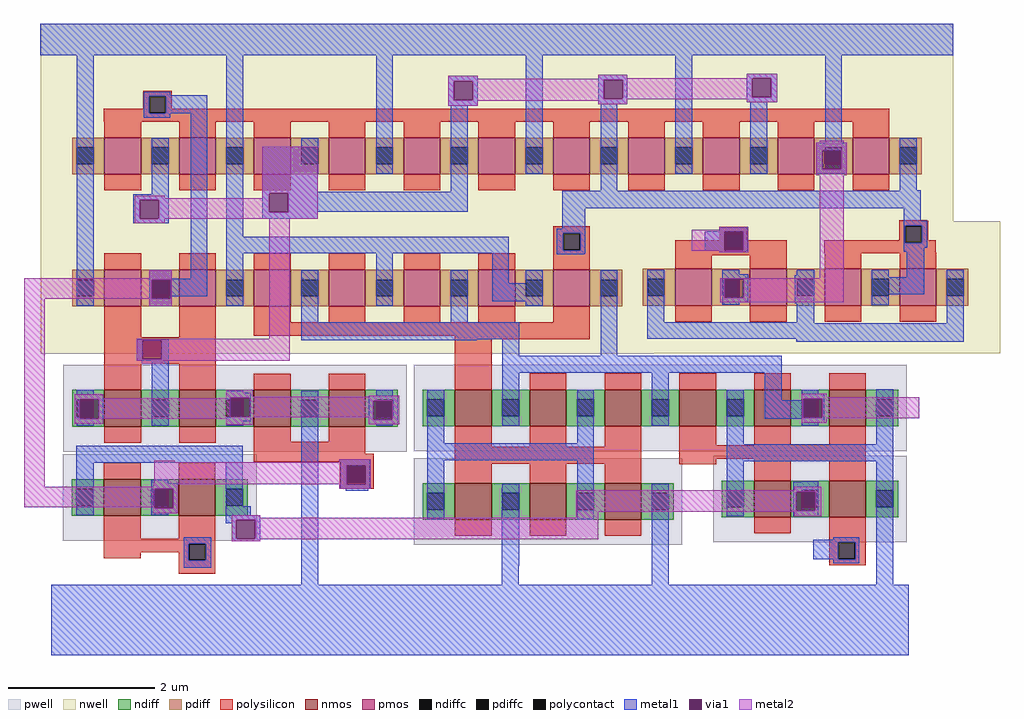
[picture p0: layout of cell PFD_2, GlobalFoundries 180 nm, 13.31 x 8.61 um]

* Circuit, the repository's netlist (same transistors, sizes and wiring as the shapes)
* NGSPICE file created from PFD_2.ext - technology: gf180mcuD

.subckt nmos_3p3_3JEA4B a_254_n50# a_n154_n50# a_n342_n50# a_n254_n94# a_50_n50# a_n50_n94#
+ a_154_n94# VSUBS
X0 a_50_n50# a_n50_n94# a_n154_n50# VSUBS nfet_03v3 ad=0.13p pd=1.02u as=0.13p ps=1.02u w=0.5u l=0.5u
X1 a_n154_n50# a_n254_n94# a_n342_n50# VSUBS nfet_03v3 ad=0.13p pd=1.02u as=0.22p ps=1.88u w=0.5u l=0.5u
X2 a_254_n50# a_154_n94# a_50_n50# VSUBS nfet_03v3 ad=0.22p pd=1.88u as=0.13p ps=1.02u w=0.5u l=0.5u
.ends

.subckt nmos_3p3_8FEA4B a_n52_n50# a_52_n94# a_152_n50# a_n240_n50# a_n152_n94# VSUBS
X0 a_152_n50# a_52_n94# a_n52_n50# VSUBS nfet_03v3 ad=0.22p pd=1.88u as=0.13p ps=1.02u w=0.5u l=0.5u
X1 a_n52_n50# a_n152_n94# a_n240_n50# VSUBS nfet_03v3 ad=0.13p pd=1.02u as=0.22p ps=1.88u w=0.5u l=0.5u
.ends

.subckt pmos_3p3_KG2TLV a_n52_n50# w_n326_n180# a_52_n94# a_152_n50# a_n240_n50# a_n152_n94#
X0 a_152_n50# a_52_n94# a_n52_n50# w_n326_n180# pfet_03v3 ad=0.22p pd=1.88u as=0.13p ps=1.02u w=0.5u l=0.5u
X1 a_n52_n50# a_n152_n94# a_n240_n50# w_n326_n180# pfet_03v3 ad=0.13p pd=1.02u as=0.22p ps=1.88u w=0.5u l=0.5u
.ends

.subckt pmos_3p3_K83TLV a_458_n50# a_n358_n50# a_n546_n50# a_254_n50# a_n154_n50#
+ a_n458_n94# a_n254_n94# a_50_n50# w_n632_n180# a_358_n94# a_n50_n94# a_154_n94#
X0 a_50_n50# a_n50_n94# a_n154_n50# w_n632_n180# pfet_03v3 ad=0.13p pd=1.02u as=0.13p ps=1.02u w=0.5u l=0.5u
X1 a_n154_n50# a_n254_n94# a_n358_n50# w_n632_n180# pfet_03v3 ad=0.13p pd=1.02u as=0.13p ps=1.02u w=0.5u l=0.5u
X2 a_n358_n50# a_n458_n94# a_n546_n50# w_n632_n180# pfet_03v3 ad=0.13p pd=1.02u as=0.22p ps=1.88u w=0.5u l=0.5u
X3 a_254_n50# a_154_n94# a_50_n50# w_n632_n180# pfet_03v3 ad=0.13p pd=1.02u as=0.13p ps=1.02u w=0.5u l=0.5u
X4 a_458_n50# a_358_n94# a_254_n50# w_n632_n180# pfet_03v3 ad=0.22p pd=1.88u as=0.13p ps=1.02u w=0.5u l=0.5u
.ends

.subckt pmos_3p3_HMK9E7 a_n866_n94# a_662_n50# a_n562_n50# a_n662_n94# a_458_n50#
+ a_n358_n50# a_970_n94# a_254_n50# a_n154_n50# a_n458_n94# w_n1244_n180# a_766_n94#
+ a_n254_n94# a_562_n94# a_50_n50# a_358_n94# a_n50_n94# a_1070_n50# a_n970_n50# a_n1158_n50#
+ a_154_n94# a_n1070_n94# a_866_n50# a_n766_n50#
X0 a_866_n50# a_766_n94# a_662_n50# w_n1244_n180# pfet_03v3 ad=0.13p pd=1.02u as=0.13p ps=1.02u w=0.5u l=0.5u
X1 a_50_n50# a_n50_n94# a_n154_n50# w_n1244_n180# pfet_03v3 ad=0.13p pd=1.02u as=0.13p ps=1.02u w=0.5u l=0.5u
X2 a_1070_n50# a_970_n94# a_866_n50# w_n1244_n180# pfet_03v3 ad=0.22p pd=1.88u as=0.13p ps=1.02u w=0.5u l=0.5u
X3 a_n154_n50# a_n254_n94# a_n358_n50# w_n1244_n180# pfet_03v3 ad=0.13p pd=1.02u as=0.13p ps=1.02u w=0.5u l=0.5u
X4 a_n358_n50# a_n458_n94# a_n562_n50# w_n1244_n180# pfet_03v3 ad=0.13p pd=1.02u as=0.13p ps=1.02u w=0.5u l=0.5u
X5 a_n562_n50# a_n662_n94# a_n766_n50# w_n1244_n180# pfet_03v3 ad=0.13p pd=1.02u as=0.13p ps=1.02u w=0.5u l=0.5u
X6 a_n766_n50# a_n866_n94# a_n970_n50# w_n1244_n180# pfet_03v3 ad=0.13p pd=1.02u as=0.13p ps=1.02u w=0.5u l=0.5u
X7 a_n970_n50# a_n1070_n94# a_n1158_n50# w_n1244_n180# pfet_03v3 ad=0.13p pd=1.02u as=0.22p ps=1.88u w=0.5u l=0.5u
X8 a_254_n50# a_154_n94# a_50_n50# w_n1244_n180# pfet_03v3 ad=0.13p pd=1.02u as=0.13p ps=1.02u w=0.5u l=0.5u
X9 a_458_n50# a_358_n94# a_254_n50# w_n1244_n180# pfet_03v3 ad=0.13p pd=1.02u as=0.13p ps=1.02u w=0.5u l=0.5u
X10 a_662_n50# a_562_n94# a_458_n50# w_n1244_n180# pfet_03v3 ad=0.13p pd=1.02u as=0.13p ps=1.02u w=0.5u l=0.5u
.ends

.subckt PFD_2
Xnmos_3p3_3JEA4B_0 m1_29_n1176# m1_29_n1176# m1_711_n317# a_2150_n931# m1_711_n317#
+ a_2150_n931# a_2150_n931# VSUBS nmos_3p3_3JEA4B
Xnmos_3p3_8FEA4B_0 m1_29_n1176# a_172_278# m1_94_n545# m1_94_n545# a_172_278# VSUBS
+ nmos_3p3_8FEA4B
Xnmos_3p3_3JEA4B_1 m1_711_n317# m1_711_n317# m1_1055_n805# a_582_n305# m1_1055_n805#
+ a_582_n305# a_582_n305# VSUBS nmos_3p3_3JEA4B
Xpmos_3p3_KG2TLV_0 a_582_n305# w_253_2# a_582_n305# m1_1654_n314# m1_1654_n314# a_582_n305#
+ pmos_3p3_KG2TLV
Xnmos_3p3_8FEA4B_1 a_582_n305# a_174_n409# m1_94_n545# m1_94_n545# a_174_n409# VSUBS
+ nmos_3p3_8FEA4B
Xnmos_3p3_3JEA4B_2 m1_29_n1176# m1_29_n1176# m1_1055_n805# a_582_n305# m1_1055_n805#
+ a_582_n305# a_582_n305# VSUBS nmos_3p3_3JEA4B
Xpmos_3p3_KG2TLV_1 a_172_278# w_253_2# a_174_n409# m1_n1_460# m1_n1_460# a_174_n409#
+ pmos_3p3_KG2TLV
Xnmos_3p3_8FEA4B_2 a_172_278# a_173_n912# m1_98_n794# m1_98_n794# a_173_n912# VSUBS
+ nmos_3p3_8FEA4B
Xpmos_3p3_KG2TLV_2 m1_n1_460# w_253_2# a_1730_n81# m1_1654_n314# m1_1654_n314# a_1730_n81#
+ pmos_3p3_KG2TLV
Xnmos_3p3_8FEA4B_3 m1_98_n794# a_2150_n931# m1_29_n1176# m1_29_n1176# a_2150_n931#
+ VSUBS nmos_3p3_8FEA4B
Xpmos_3p3_K83TLV_0 m1_711_n317# m1_711_n317# m1_n1_460# m1_n1_460# m1_n1_460# a_582_n305#
+ a_582_n305# m1_711_n317# w_253_2# a_582_n305# a_582_n305# a_582_n305# pmos_3p3_K83TLV
Xpmos_3p3_HMK9E7_0 a_172_278# a_582_n305# a_582_n305# a_172_278# m1_n1_460# m1_n1_460#
+ a_172_278# a_582_n305# a_582_n305# a_172_278# w_253_2# a_172_278# a_172_278# a_172_278#
+ m1_n1_460# a_172_278# a_172_278# a_582_n305# a_582_n305# m1_n1_460# a_172_278# a_172_278#
+ m1_n1_460# m1_n1_460# pmos_3p3_HMK9E7
.ends

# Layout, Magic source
magic
tech gf180mcuD
magscale 1 10
<< nwell >>
rect 0 365 2488 545
rect 280 300 358 363
rect 282 289 358 300
rect 507 233 553 365
rect 1849 355 1945 365
rect 303 80 349 170
rect 619 87 665 164
rect 619 83 681 87
rect 619 82 665 83
rect 253 2 349 80
rect 615 16 687 82
rect 2341 8 2418 10
rect 1852 -76 1926 -8
rect 2341 -66 2421 8
rect 1700 -314 2062 -268
<< polysilicon >>
rect 280 348 358 363
rect 280 314 296 348
rect 172 302 296 314
rect 342 314 358 348
rect 342 302 2314 314
rect 172 278 2314 302
rect 2341 8 2418 10
rect 2341 -6 2421 8
rect 1398 -26 1498 -7
rect 1398 -72 1425 -26
rect 1471 -72 1498 -26
rect 1852 -24 1926 -8
rect 1852 -45 1866 -24
rect 1398 -81 1498 -72
rect 1730 -70 1866 -45
rect 1912 -45 1926 -24
rect 2341 -45 2357 -6
rect 1912 -70 2034 -45
rect 1730 -81 2034 -70
rect 2137 -52 2357 -45
rect 2403 -45 2421 -6
rect 2403 -52 2441 -45
rect 2137 -81 2441 -52
rect 1829 -86 1935 -81
rect 174 -310 274 -266
rect 378 -310 478 -269
rect 582 -305 1498 -269
rect 174 -381 478 -310
rect 174 -409 274 -381
rect 378 -409 478 -381
rect 1130 -315 1498 -305
rect 1130 -409 1230 -315
rect 582 -627 886 -594
rect 1130 -608 1230 -593
rect 1334 -608 1434 -593
rect 1538 -608 1638 -593
rect 582 -649 909 -627
rect 816 -659 909 -649
rect 816 -705 839 -659
rect 885 -705 909 -659
rect 1130 -654 1638 -608
rect 1130 -663 1230 -654
rect 1334 -663 1434 -654
rect 1538 -663 1638 -654
rect 1742 -604 1842 -596
rect 1946 -603 2046 -596
rect 2150 -603 2250 -596
rect 1946 -604 2250 -603
rect 1742 -641 2250 -604
rect 1742 -655 1842 -641
rect 1946 -648 2250 -641
rect 1946 -656 2046 -648
rect 2150 -656 2250 -648
rect 816 -723 909 -705
rect 173 -859 273 -840
rect 377 -859 477 -840
rect 173 -872 477 -859
rect 173 -895 404 -872
rect 173 -912 273 -895
rect 377 -918 404 -895
rect 450 -918 477 -872
rect 377 -954 477 -918
rect 2150 -868 2250 -843
rect 2150 -914 2175 -868
rect 2221 -914 2250 -868
rect 2150 -931 2250 -914
<< polycontact >>
rect 296 302 342 348
rect 1425 -72 1471 -26
rect 1866 -70 1912 -24
rect 2357 -52 2403 -6
rect 839 -705 885 -659
rect 404 -918 450 -872
rect 2175 -914 2221 -868
<< metal1 >>
rect -1 460 2488 545
rect 99 -223 145 460
rect 282 350 354 360
rect 282 348 455 350
rect 282 302 296 348
rect 342 302 455 348
rect 282 301 455 302
rect 282 289 354 301
rect 303 80 349 233
rect 253 66 349 80
rect 253 14 271 66
rect 323 14 349 66
rect 253 2 349 14
rect 297 -150 358 -127
rect 409 -150 455 301
rect 297 -153 455 -150
rect 297 -205 303 -153
rect 355 -198 455 -153
rect 507 -35 553 460
rect 711 210 757 233
rect 604 138 757 210
rect 915 138 961 460
rect 1112 389 1192 404
rect 1112 337 1127 389
rect 1179 337 1192 389
rect 1112 322 1192 337
rect 604 87 756 138
rect 1119 87 1165 322
rect 1323 137 1369 460
rect 1521 393 1600 407
rect 1521 341 1535 393
rect 1587 341 1600 393
rect 1521 326 1600 341
rect 1527 90 1573 326
rect 1731 138 1777 460
rect 1926 397 2009 409
rect 1926 345 1941 397
rect 1993 345 2009 397
rect 1926 331 2009 345
rect 1935 137 1981 331
rect 2139 221 2185 460
rect 2115 201 2198 221
rect 2115 149 2131 201
rect 2183 149 2198 201
rect 2115 136 2198 149
rect 2343 91 2389 233
rect 2343 90 2400 91
rect 604 83 1165 87
rect 604 31 623 83
rect 675 33 1165 83
rect 1422 43 2400 90
rect 675 31 756 33
rect 604 14 756 31
rect 1422 -14 1485 43
rect 2354 8 2400 43
rect 2354 -6 2418 8
rect 1407 -26 1485 -14
rect 1851 -20 1928 -11
rect 1812 -21 1928 -20
rect 1812 -23 1864 -21
rect 507 -81 1277 -35
rect 355 -205 358 -198
rect 297 -225 358 -205
rect 507 -223 553 -81
rect 711 -269 757 -127
rect 915 -223 961 -81
rect 1119 -269 1165 -127
rect 1231 -162 1277 -81
rect 1407 -72 1425 -26
rect 1471 -72 1485 -26
rect 1407 -80 1485 -72
rect 1811 -73 1864 -23
rect 1916 -73 1928 -21
rect 1811 -74 1928 -73
rect 2354 -52 2357 -6
rect 2403 -52 2418 -6
rect 2354 -66 2418 -52
rect 1855 -78 1923 -74
rect 2354 -76 2410 -66
rect 1407 -83 1484 -80
rect 1323 -162 1369 -127
rect 1231 -211 1369 -162
rect 1323 -223 1369 -211
rect 711 -315 1305 -269
rect 262 -318 349 -315
rect 711 -317 1190 -315
rect 262 -370 278 -318
rect 330 -370 349 -318
rect 262 -374 349 -370
rect 99 -465 145 -452
rect 94 -479 171 -465
rect 94 -531 107 -479
rect 159 -531 171 -479
rect 94 -545 171 -531
rect 99 -548 145 -545
rect 303 -548 349 -374
rect 1259 -360 1305 -315
rect 1527 -360 1573 -127
rect 1654 -268 1701 -127
rect 1859 -138 1905 -127
rect 1859 -150 1929 -138
rect 2062 -140 2109 -127
rect 1859 -202 1865 -150
rect 1917 -202 1929 -150
rect 1859 -214 1929 -202
rect 1859 -221 1905 -214
rect 2056 -217 2110 -140
rect 2266 -146 2312 -127
rect 2362 -146 2410 -76
rect 2266 -192 2410 -146
rect 2062 -268 2109 -217
rect 2266 -222 2312 -192
rect 1654 -271 2109 -268
rect 2471 -271 2517 -127
rect 1654 -314 2517 -271
rect 2061 -322 2517 -314
rect 1259 -406 2021 -360
rect 516 -474 573 -461
rect 516 -526 518 -474
rect 570 -526 573 -474
rect 516 -538 573 -526
rect 98 -651 552 -605
rect 98 -794 145 -651
rect 302 -708 348 -699
rect 302 -723 374 -708
rect 302 -775 310 -723
rect 362 -775 374 -723
rect 302 -789 374 -775
rect 505 -770 552 -651
rect 302 -793 348 -789
rect 505 -794 573 -770
rect 505 -807 599 -794
rect 505 -816 534 -807
rect 390 -872 466 -855
rect 522 -859 534 -816
rect 586 -859 599 -807
rect 522 -865 599 -859
rect 390 -918 404 -872
rect 450 -918 466 -872
rect 390 -938 466 -918
rect 711 -984 757 -455
rect 915 -469 961 -452
rect 895 -482 978 -469
rect 895 -534 907 -482
rect 959 -534 978 -482
rect 895 -547 978 -534
rect 915 -548 961 -547
rect 1055 -598 1101 -453
rect 1259 -548 1305 -406
rect 1463 -598 1509 -453
rect 1667 -548 1713 -406
rect 819 -659 898 -642
rect 819 -711 835 -659
rect 887 -711 898 -659
rect 819 -723 898 -711
rect 1055 -645 1509 -598
rect 832 -728 893 -723
rect 1055 -805 1101 -645
rect 1259 -721 1305 -709
rect 1258 -933 1305 -721
rect 1463 -805 1509 -645
rect 1871 -601 1917 -452
rect 1975 -481 2021 -406
rect 2075 -464 2121 -452
rect 2075 -477 2137 -464
rect 2075 -481 2079 -477
rect 1975 -529 2079 -481
rect 2131 -529 2137 -477
rect 1975 -532 2137 -529
rect 2075 -542 2137 -532
rect 2075 -548 2121 -542
rect 2279 -601 2325 -451
rect 1871 -648 2325 -601
rect 1258 -984 1304 -933
rect 1667 -984 1713 -709
rect 1871 -788 1917 -648
rect 2052 -730 2121 -703
rect 2052 -782 2060 -730
rect 2112 -782 2121 -730
rect 2052 -789 2121 -782
rect 2052 -794 2117 -789
rect 2052 -797 2100 -794
rect 2162 -862 2232 -855
rect 2107 -868 2232 -862
rect 2107 -914 2175 -868
rect 2221 -914 2232 -868
rect 2107 -915 2232 -914
rect 2162 -925 2232 -915
rect 2279 -984 2325 -648
rect 29 -1176 2367 -984
<< via1 >>
rect 271 14 323 66
rect 303 -205 355 -153
rect 1127 337 1179 389
rect 1535 341 1587 393
rect 1941 345 1993 397
rect 2131 149 2183 201
rect 623 31 675 83
rect 1864 -24 1916 -21
rect 1864 -70 1866 -24
rect 1866 -70 1912 -24
rect 1912 -70 1916 -24
rect 1864 -73 1916 -70
rect 278 -370 330 -318
rect 107 -531 159 -479
rect 1865 -202 1917 -150
rect 518 -526 570 -474
rect 310 -775 362 -723
rect 534 -859 586 -807
rect 907 -534 959 -482
rect 835 -705 839 -659
rect 839 -705 885 -659
rect 885 -705 887 -659
rect 835 -711 887 -705
rect 2079 -529 2131 -477
rect 2060 -782 2112 -730
<< metal2 >>
rect 1112 395 1192 404
rect 1521 397 1600 407
rect 1926 397 2009 409
rect 1521 395 1941 397
rect 1112 393 1941 395
rect 1112 389 1535 393
rect 1112 337 1127 389
rect 1179 341 1535 389
rect 1587 345 1941 393
rect 1993 345 2009 397
rect 1587 341 2009 345
rect 1179 339 2009 341
rect 1179 337 1600 339
rect 1112 336 1600 337
rect 1112 322 1192 336
rect 1521 326 1600 336
rect 1926 331 2009 339
rect 2125 221 2190 226
rect 604 83 756 210
rect 2115 201 2198 221
rect 2115 149 2131 201
rect 2183 149 2198 201
rect 2115 132 2198 149
rect 257 70 339 77
rect 604 70 623 83
rect 257 66 623 70
rect 257 14 271 66
rect 323 31 623 66
rect 675 31 756 83
rect 323 14 756 31
rect 257 2 339 14
rect 297 -148 358 -127
rect -45 -153 358 -148
rect -45 -204 303 -153
rect -45 -717 11 -204
rect 297 -205 303 -204
rect 355 -205 358 -153
rect 297 -225 358 -205
rect 623 -314 679 14
rect 1851 -16 1929 -8
rect 1776 -21 1929 -16
rect 1776 -73 1864 -21
rect 1916 -73 1929 -21
rect 1776 -74 1929 -73
rect 1851 -78 1929 -74
rect 2125 -148 2190 132
rect 1853 -150 2190 -148
rect 1853 -202 1865 -150
rect 1917 -202 2190 -150
rect 1853 -214 2190 -202
rect 262 -318 679 -314
rect 262 -370 278 -318
rect 330 -370 679 -318
rect 262 -374 679 -370
rect 276 -381 332 -374
rect 94 -476 171 -465
rect 507 -472 578 -452
rect 895 -472 978 -469
rect 507 -474 978 -472
rect 507 -476 518 -474
rect 94 -479 518 -476
rect 94 -531 107 -479
rect 159 -526 518 -479
rect 570 -482 978 -474
rect 570 -526 907 -482
rect 159 -528 907 -526
rect 159 -531 578 -528
rect 94 -532 578 -531
rect 94 -545 171 -532
rect 507 -548 578 -532
rect 895 -534 907 -528
rect 959 -534 978 -482
rect 895 -547 978 -534
rect 2075 -473 2143 -464
rect 2075 -477 2396 -473
rect 2075 -529 2079 -477
rect 2131 -529 2396 -477
rect 2075 -530 2396 -529
rect 2075 -542 2143 -530
rect 310 -650 366 -646
rect 814 -650 901 -642
rect 310 -659 901 -650
rect 310 -708 835 -659
rect 307 -710 835 -708
rect 307 -717 374 -710
rect -45 -723 374 -717
rect 814 -711 835 -710
rect 887 -711 901 -659
rect 814 -722 901 -711
rect 814 -723 900 -722
rect -45 -773 310 -723
rect 307 -775 310 -773
rect 362 -775 374 -723
rect 2055 -726 2128 -717
rect 307 -789 374 -775
rect 1461 -730 2128 -726
rect 1461 -782 2060 -730
rect 2112 -782 2128 -730
rect 1461 -785 2128 -782
rect 522 -801 599 -794
rect 1461 -801 1520 -785
rect 2055 -797 2128 -785
rect 522 -807 1520 -801
rect 522 -859 534 -807
rect 586 -859 1520 -807
rect 522 -860 1520 -859
rect 522 -865 599 -860
use nmos_3p3_3JEA4B  nmos_3p3_3JEA4B_0
transform 1 0 1996 0 1 -502
box -366 -118 366 118
use nmos_3p3_3JEA4B  nmos_3p3_3JEA4B_1
transform 1 0 1384 0 1 -502
box -366 -118 366 118
use nmos_3p3_3JEA4B  nmos_3p3_3JEA4B_2
transform 1 0 1384 0 1 -757
box -366 -118 366 118
use nmos_3p3_8FEA4B  nmos_3p3_8FEA4B_0
transform 1 0 734 0 1 -503
box -264 -118 264 118
use nmos_3p3_8FEA4B  nmos_3p3_8FEA4B_1
transform 1 0 326 0 1 -503
box -264 -118 264 118
use nmos_3p3_8FEA4B  nmos_3p3_8FEA4B_2
transform 1 0 325 0 1 -746
box -264 -118 264 118
use nmos_3p3_8FEA4B  nmos_3p3_8FEA4B_3
transform 1 0 2098 0 1 -750
box -264 -118 264 118
use pmos_3p3_HMK9E7  pmos_3p3_HMK9E7_0
transform 1 0 1244 0 1 185
box -1244 -180 1244 180
use pmos_3p3_K83TLV  pmos_3p3_K83TLV_0
transform 1 0 1040 0 1 -175
box -632 -180 632 180
use pmos_3p3_KG2TLV  pmos_3p3_KG2TLV_0
transform 1 0 2290 0 1 -173
box -326 -180 326 180
use pmos_3p3_KG2TLV  pmos_3p3_KG2TLV_1
transform 1 0 326 0 1 -175
box -326 -180 326 180
use pmos_3p3_KG2TLV  pmos_3p3_KG2TLV_2
transform 1 0 1882 0 1 -173
box -326 -180 326 180
<< end >>

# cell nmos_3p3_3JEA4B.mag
magic
tech gf180mcuD
magscale 1 10
<< pwell >>
rect -366 -118 366 118
<< nmos >>
rect -254 -50 -154 50
rect -50 -50 50 50
rect 154 -50 254 50
<< ndiff >>
rect -342 23 -254 50
rect -342 -23 -329 23
rect -283 -23 -254 23
rect -342 -50 -254 -23
rect -154 23 -50 50
rect -154 -23 -125 23
rect -79 -23 -50 23
rect -154 -50 -50 -23
rect 50 23 154 50
rect 50 -23 79 23
rect 125 -23 154 23
rect 50 -50 154 -23
rect 254 23 342 50
rect 254 -23 283 23
rect 329 -23 342 23
rect 254 -50 342 -23
<< ndiffc >>
rect -329 -23 -283 23
rect -125 -23 -79 23
rect 79 -23 125 23
rect 283 -23 329 23
<< polysilicon >>
rect -254 50 -154 94
rect -50 50 50 94
rect 154 50 254 94
rect -254 -94 -154 -50
rect -50 -94 50 -50
rect 154 -94 254 -50
<< metal1 >>
rect -329 23 -283 48
rect -329 -48 -283 -23
rect -125 23 -79 48
rect -125 -48 -79 -23
rect 79 23 125 48
rect 79 -48 125 -23
rect 283 23 329 48
rect 283 -48 329 -23
<< end >>

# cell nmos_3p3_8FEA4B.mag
magic
tech gf180mcuD
magscale 1 10
<< pwell >>
rect -264 -118 264 118
<< nmos >>
rect -152 -50 -52 50
rect 52 -50 152 50
<< ndiff >>
rect -240 23 -152 50
rect -240 -23 -227 23
rect -181 -23 -152 23
rect -240 -50 -152 -23
rect -52 23 52 50
rect -52 -23 -23 23
rect 23 -23 52 23
rect -52 -50 52 -23
rect 152 23 240 50
rect 152 -23 181 23
rect 227 -23 240 23
rect 152 -50 240 -23
<< ndiffc >>
rect -227 -23 -181 23
rect -23 -23 23 23
rect 181 -23 227 23
<< polysilicon >>
rect -152 50 -52 94
rect 52 50 152 94
rect -152 -94 -52 -50
rect 52 -94 152 -50
<< metal1 >>
rect -227 23 -181 48
rect -227 -48 -181 -23
rect -23 23 23 48
rect -23 -48 23 -23
rect 181 23 227 48
rect 181 -48 227 -23
<< end >>

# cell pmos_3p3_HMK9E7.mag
magic
tech gf180mcuD
magscale 1 10
<< nwell >>
rect -1244 -180 1244 180
<< pmos >>
rect -1070 -50 -970 50
rect -866 -50 -766 50
rect -662 -50 -562 50
rect -458 -50 -358 50
rect -254 -50 -154 50
rect -50 -50 50 50
rect 154 -50 254 50
rect 358 -50 458 50
rect 562 -50 662 50
rect 766 -50 866 50
rect 970 -50 1070 50
<< pdiff >>
rect -1158 23 -1070 50
rect -1158 -23 -1145 23
rect -1099 -23 -1070 23
rect -1158 -50 -1070 -23
rect -970 23 -866 50
rect -970 -23 -941 23
rect -895 -23 -866 23
rect -970 -50 -866 -23
rect -766 23 -662 50
rect -766 -23 -737 23
rect -691 -23 -662 23
rect -766 -50 -662 -23
rect -562 23 -458 50
rect -562 -23 -533 23
rect -487 -23 -458 23
rect -562 -50 -458 -23
rect -358 23 -254 50
rect -358 -23 -329 23
rect -283 -23 -254 23
rect -358 -50 -254 -23
rect -154 23 -50 50
rect -154 -23 -125 23
rect -79 -23 -50 23
rect -154 -50 -50 -23
rect 50 23 154 50
rect 50 -23 79 23
rect 125 -23 154 23
rect 50 -50 154 -23
rect 254 23 358 50
rect 254 -23 283 23
rect 329 -23 358 23
rect 254 -50 358 -23
rect 458 23 562 50
rect 458 -23 487 23
rect 533 -23 562 23
rect 458 -50 562 -23
rect 662 23 766 50
rect 662 -23 691 23
rect 737 -23 766 23
rect 662 -50 766 -23
rect 866 23 970 50
rect 866 -23 895 23
rect 941 -23 970 23
rect 866 -50 970 -23
rect 1070 23 1158 50
rect 1070 -23 1099 23
rect 1145 -23 1158 23
rect 1070 -50 1158 -23
<< pdiffc >>
rect -1145 -23 -1099 23
rect -941 -23 -895 23
rect -737 -23 -691 23
rect -533 -23 -487 23
rect -329 -23 -283 23
rect -125 -23 -79 23
rect 79 -23 125 23
rect 283 -23 329 23
rect 487 -23 533 23
rect 691 -23 737 23
rect 895 -23 941 23
rect 1099 -23 1145 23
<< polysilicon >>
rect -1070 50 -970 94
rect -866 50 -766 94
rect -662 50 -562 94
rect -458 50 -358 94
rect -254 50 -154 94
rect -50 50 50 94
rect 154 50 254 94
rect 358 50 458 94
rect 562 50 662 94
rect 766 50 866 94
rect 970 50 1070 94
rect -1070 -94 -970 -50
rect -866 -94 -766 -50
rect -662 -94 -562 -50
rect -458 -94 -358 -50
rect -254 -94 -154 -50
rect -50 -94 50 -50
rect 154 -94 254 -50
rect 358 -94 458 -50
rect 562 -94 662 -50
rect 766 -94 866 -50
rect 970 -94 1070 -50
<< metal1 >>
rect -1145 23 -1099 48
rect -1145 -48 -1099 -23
rect -941 23 -895 48
rect -941 -48 -895 -23
rect -737 23 -691 48
rect -737 -48 -691 -23
rect -533 23 -487 48
rect -533 -48 -487 -23
rect -329 23 -283 48
rect -329 -48 -283 -23
rect -125 23 -79 48
rect -125 -48 -79 -23
rect 79 23 125 48
rect 79 -48 125 -23
rect 283 23 329 48
rect 283 -48 329 -23
rect 487 23 533 48
rect 487 -48 533 -23
rect 691 23 737 48
rect 691 -48 737 -23
rect 895 23 941 48
rect 895 -48 941 -23
rect 1099 23 1145 48
rect 1099 -48 1145 -23
<< end >>

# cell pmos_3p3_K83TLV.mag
magic
tech gf180mcuD
magscale 1 10
<< nwell >>
rect -632 -180 632 180
<< pmos >>
rect -458 -50 -358 50
rect -254 -50 -154 50
rect -50 -50 50 50
rect 154 -50 254 50
rect 358 -50 458 50
<< pdiff >>
rect -546 23 -458 50
rect -546 -23 -533 23
rect -487 -23 -458 23
rect -546 -50 -458 -23
rect -358 23 -254 50
rect -358 -23 -329 23
rect -283 -23 -254 23
rect -358 -50 -254 -23
rect -154 23 -50 50
rect -154 -23 -125 23
rect -79 -23 -50 23
rect -154 -50 -50 -23
rect 50 23 154 50
rect 50 -23 79 23
rect 125 -23 154 23
rect 50 -50 154 -23
rect 254 23 358 50
rect 254 -23 283 23
rect 329 -23 358 23
rect 254 -50 358 -23
rect 458 23 546 50
rect 458 -23 487 23
rect 533 -23 546 23
rect 458 -50 546 -23
<< pdiffc >>
rect -533 -23 -487 23
rect -329 -23 -283 23
rect -125 -23 -79 23
rect 79 -23 125 23
rect 283 -23 329 23
rect 487 -23 533 23
<< polysilicon >>
rect -458 50 -358 94
rect -254 50 -154 94
rect -50 50 50 94
rect 154 50 254 94
rect 358 50 458 94
rect -458 -94 -358 -50
rect -254 -94 -154 -50
rect -50 -94 50 -50
rect 154 -94 254 -50
rect 358 -94 458 -50
<< metal1 >>
rect -533 23 -487 48
rect -533 -48 -487 -23
rect -329 23 -283 48
rect -329 -48 -283 -23
rect -125 23 -79 48
rect -125 -48 -79 -23
rect 79 23 125 48
rect 79 -48 125 -23
rect 283 23 329 48
rect 283 -48 329 -23
rect 487 23 533 48
rect 487 -48 533 -23
<< end >>

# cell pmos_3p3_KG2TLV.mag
magic
tech gf180mcuD
magscale 1 10
<< nwell >>
rect -326 -180 326 180
<< pmos >>
rect -152 -50 -52 50
rect 52 -50 152 50
<< pdiff >>
rect -240 23 -152 50
rect -240 -23 -227 23
rect -181 -23 -152 23
rect -240 -50 -152 -23
rect -52 23 52 50
rect -52 -23 -23 23
rect 23 -23 52 23
rect -52 -50 52 -23
rect 152 23 240 50
rect 152 -23 181 23
rect 227 -23 240 23
rect 152 -50 240 -23
<< pdiffc >>
rect -227 -23 -181 23
rect -23 -23 23 23
rect 181 -23 227 23
<< polysilicon >>
rect -152 50 -52 94
rect 52 50 152 94
rect -152 -94 -52 -50
rect 52 -94 152 -50
<< metal1 >>
rect -227 23 -181 48
rect -227 -48 -181 -23
rect -23 23 23 48
rect -23 -48 23 -23
rect 181 23 227 48
rect 181 -48 227 -23
<< end >>
